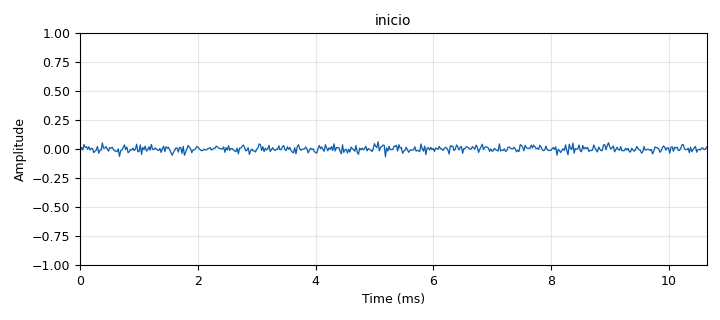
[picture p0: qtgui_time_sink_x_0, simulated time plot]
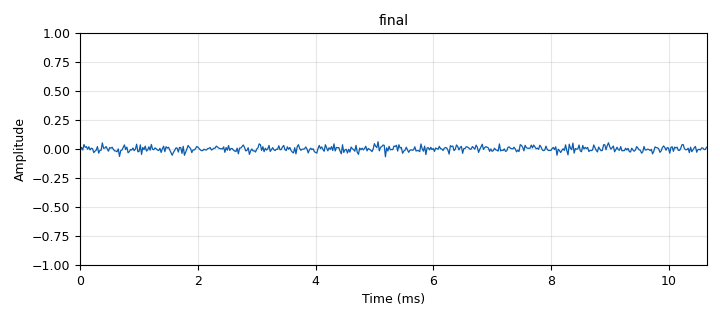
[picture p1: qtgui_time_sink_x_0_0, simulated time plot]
options:
  parameters:
    generate_options: qt_gui
    id: pruebas_LM_problemas
    output_language: python
    title: latency
  states: {}

blocks:
- name: amplitude
  id: variable_qtgui_push_button
  parameters:
    label: Amplitude
    pressed: '1'
    released: '0'
    type: int
    value: '0'
  states: {}
- name: samp_rate
  id: variable
  parameters:
    value: 48e3
  states: {}
- name: analog_noise_source_x_0
  id: analog_noise_source_x
  parameters:
    amp: '0.02'
    noise_type: analog.GR_GAUSSIAN
    seed: '0'
    type: float
  states: {}
- name: analog_sig_source_x_0
  id: analog_sig_source_x
  parameters:
    amp: '1'
    freq: '500'
    offset: '0'
    phase: '0'
    samp_rate: samp_rate
    type: float
    waveform: analog.GR_COS_WAVE
  states: {}
- name: blocks_add_const_vxx_0
  id: blocks_add_const_vxx
  parameters:
    const: '0'
    type: float
  states: {}
- name: blocks_add_const_vxx_0_0
  id: blocks_add_const_vxx
  parameters:
    const: '0'
    type: float
  states: {}
- name: blocks_add_const_vxx_0_0_0
  id: blocks_add_const_vxx
  parameters:
    const: '0'
    type: float
  states: {}
- name: blocks_add_const_vxx_0_0_0_0
  id: blocks_add_const_vxx
  parameters:
    const: '0'
    type: float
  states: {}
- name: blocks_add_const_vxx_0_0_1
  id: blocks_add_const_vxx
  parameters:
    const: '0'
    type: float
  states: {}
- name: blocks_add_const_vxx_0_1
  id: blocks_add_const_vxx
  parameters:
    const: '0'
    type: float
  states: {}
- name: blocks_add_xx_0
  id: blocks_add_xx
  parameters:
    type: float
  states: {}
- name: blocks_multiply_const_vxx_0
  id: blocks_multiply_const_vxx
  parameters:
    const: amplitude
    type: float
  states: {}
- name: blocks_stream_to_vector_0
  id: blocks_stream_to_vector
  parameters:
    type: float
  states: {}
- name: blocks_vector_to_stream_0
  id: blocks_vector_to_stream
  parameters:
    type: float
  states: {}
- name: qtgui_time_sink_x_0
  id: qtgui_time_sink_x
  parameters:
    name: '"inicio"'
    size: '512'
    srate: samp_rate
    type: float
  states: {}
- name: qtgui_time_sink_x_0_0
  id: qtgui_time_sink_x
  parameters:
    name: '"final"'
    size: '512'
    srate: samp_rate
    type: float
  states: {}

connections:
- [analog_noise_source_x_0, '0', blocks_add_xx_0, '1']
- [analog_sig_source_x_0, '0', blocks_multiply_const_vxx_0, '0']
- [blocks_add_const_vxx_0, '0', blocks_add_const_vxx_0_0, '0']
- [blocks_add_const_vxx_0_0, '0', blocks_add_const_vxx_0_0_0, '0']
- [blocks_add_const_vxx_0_0_0, '0', blocks_stream_to_vector_0, '0']
- [blocks_add_const_vxx_0_0_0_0, '0', blocks_add_const_vxx_0, '0']
- [blocks_add_const_vxx_0_0_1, '0', blocks_add_const_vxx_0_0_0_0, '0']
- [blocks_add_const_vxx_0_1, '0', blocks_add_const_vxx_0_0_1, '0']
- [blocks_add_xx_0, '0', blocks_add_const_vxx_0_1, '0']
- [blocks_add_xx_0, '0', qtgui_time_sink_x_0, '0']
- [blocks_multiply_const_vxx_0, '0', blocks_add_xx_0, '0']
- [blocks_stream_to_vector_0, '0', blocks_vector_to_stream_0, '0']
- [blocks_vector_to_stream_0, '0', qtgui_time_sink_x_0_0, '0']

metadata:
  file_format: 1
